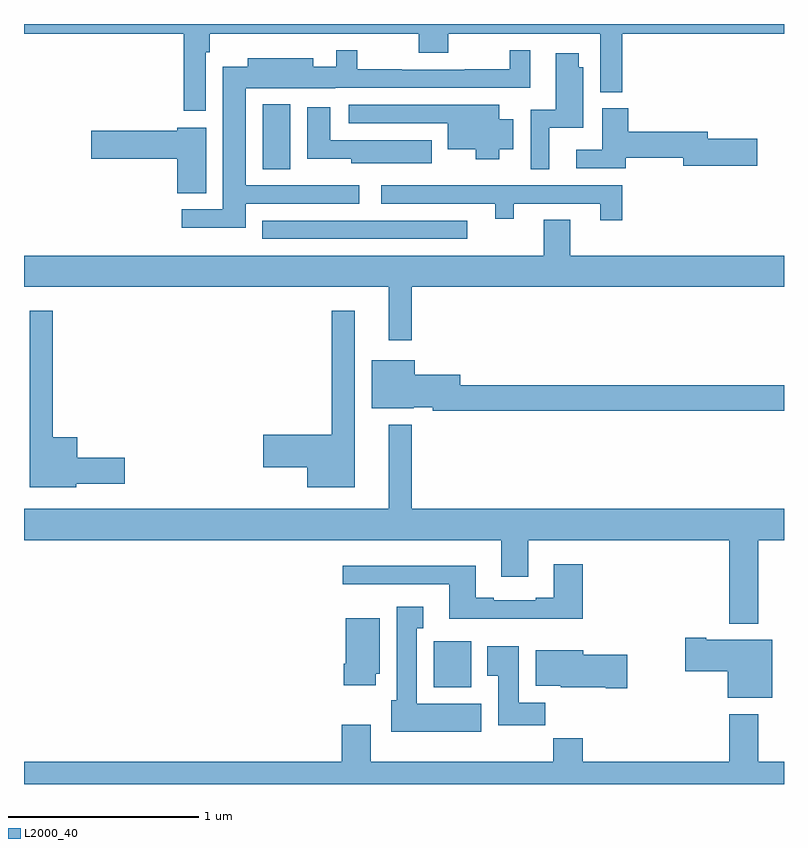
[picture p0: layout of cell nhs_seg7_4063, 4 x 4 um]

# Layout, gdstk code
import gdstk
lib = gdstk.Library(unit=1e-6, precision=1e-09)
def R(c, l, rs):  # rectangles x0, y0, x1, y1
    for r in rs: c.add(gdstk.rectangle(r[:2], r[2:], *l))
def P(c, l, *ps):  # polygons
    for p in ps: c.add(gdstk.Polygon(p, *l))
L2000_40 = (2000, 40)

nhs_seg7_4063 = lib.new_cell('nhs_seg7_4063')
R(nhs_seg7_4063, L2000_40, [(371.156,998.51,371.353,998.752), (370.253,1000.869,371.332,1000.965), (370.256,1001.236,370.402,1001.578)])
P(nhs_seg7_4063, L2000_40, [(369.957,1001.852),(369.977,1001.852),(369.977,1001.948),(371.077,1001.948),(371.077,1001.849),(371.232,1001.849),(371.232,1001.948),(372.033,1001.948),(372.033,1001.641),(372.149,1001.641),(372.149,1001.948),(373,1001.948),(373,1002),(369,1002),(369,1001.948),(369.841,1001.948),(369.841,1001.544),(369.957,1001.544)],
  [(370.168,1001.055),(370.765,1001.055),(370.765,1001.152),(370.498,1001.152),(370.498,1001.151),(370.168,1001.151),(370.168,1001.663),(370.637,1001.663),(370.637,1001.664),(371.665,1001.664),(371.665,1001.863),(371.556,1001.863),(371.556,1001.762),(371.32,1001.762),(371.32,1001.76),(370.988,1001.76),(370.988,1001.762),(370.753,1001.762),(370.753,1001.863),(370.644,1001.863),(370.644,1001.776),(370.522,1001.776),(370.522,1001.821),(370.178,1001.821),(370.178,1001.776),(370.046,1001.776),(370.046,1001.025),(369.831,1001.025),(369.831,1000.928),(370.168,1000.928)],
  [(371.764,1001.454),(371.944,1001.454),(371.944,1001.772),(371.92,1001.772),(371.92,1001.845),(371.798,1001.845),(371.798,1001.55),(371.667,1001.55),(371.667,1001.236),(371.764,1001.236)],
  [(371.5,1001.342),(371.575,1001.342),(371.575,1001.5),(371.5,1001.5),(371.5,1001.574),(370.71,1001.574),(370.71,1001.478),(371.231,1001.478),(371.231,1001.342),(371.378,1001.342),(371.378,1001.288),(371.5,1001.288)],
  [(371.146,1001.388),(370.939,1001.388),(370.939,1001.389),(370.612,1001.389),(370.612,1001.563),(370.49,1001.563),(370.49,1001.291),(370.722,1001.291),(370.722,1001.267),(371.146,1001.267)],
  [(372.166,1001.296),(372.47,1001.296),(372.47,1001.254),(372.859,1001.254),(372.859,1001.396),(372.598,1001.396),(372.598,1001.432),(372.179,1001.432),(372.179,1001.556),(372.044,1001.556),(372.044,1001.337),(371.907,1001.337),(371.907,1001.241),(372.166,1001.241)],
  [(369.958,1001.455),(369.806,1001.455),(369.806,1001.438),(369.354,1001.438),(369.354,1001.291),(369.806,1001.291),(369.806,1001.11),(369.958,1001.11)],
  [(372.149,1001.151),(371.484,1001.151),(371.484,1001.152),(371.194,1001.152),(371.194,1001.151),(370.881,1001.151),(370.881,1001.055),(371.48,1001.055),(371.48,1000.976),(371.578,1000.976),(371.578,1001.055),(372.032,1001.055),(372.032,1000.968),(372.149,1000.968)],
  [(371.041,1000.616),(373,1000.616),(373,1000.78),(371.875,1000.78),(371.875,1000.97),(371.735,1000.97),(371.735,1000.78),(369,1000.78),(369,1000.616),(370.919,1000.616),(370.919,1000.335),(371.041,1000.335)],
  [(370.741,1000.492),(370.62,1000.492),(370.62,999.839),(370.26,999.839),(370.26,999.668),(370.49,999.668),(370.49,999.563),(370.741,999.563)],
  [(369.276,999.581),(369.529,999.581),(369.529,999.716),(369.28,999.716),(369.28,999.826),(369.151,999.826),(369.151,1000.492),(369.029,1000.492),(369.029,999.563),(369.276,999.563)],
  [(373,1000.1),(371.296,1000.1),(371.296,1000.153),(371.056,1000.153),(371.056,1000.231),(370.829,1000.231),(370.829,999.977),(371.052,999.977),(371.052,999.983),(371.152,999.983),(371.152,999.964),(373,999.964)],
  [(372.865,999.284),(373,999.284),(373,999.448),(371.041,999.448),(371.041,999.892),(370.919,999.892),(370.919,999.448),(369,999.448),(369,999.284),(371.513,999.284),(371.513,999.09),(371.653,999.09),(371.653,999.284),(372.713,999.284),(372.713,998.843),(372.865,998.843)],
  [(371.942,999.157),(371.789,999.157),(371.789,998.98),(371.693,998.98),(371.693,998.967),(371.473,998.967),(371.473,998.98),(371.377,998.98),(371.377,999.148),(370.677,999.148),(370.677,999.051),(371.237,999.051),(371.237,998.87),(371.942,998.87)],
  [(371.407,998.422),(371.068,998.422),(371.068,998.819),(371.101,998.819),(371.101,998.932),(370.961,998.932),(370.961,998.442),(370.934,998.442),(370.934,998.276),(371.407,998.276)],
  [(370.852,998.58),(370.873,998.58),(370.873,998.872),(370.694,998.872),(370.694,998.632),(370.682,998.632),(370.682,998.52),(370.852,998.52)],
  [(372.937,998.758),(372.592,998.758),(372.592,998.771),(372.48,998.771),(372.48,998.593),(372.704,998.593),(372.704,998.453),(372.937,998.453)],
  [(371.744,998.428),(371.605,998.428),(371.605,998.725),(371.438,998.725),(371.438,998.569),(371.495,998.569),(371.495,998.31),(371.744,998.31)],
  [(372.175,998.681),(371.944,998.681),(371.944,998.704),(371.693,998.704),(371.693,998.516),(371.826,998.516),(371.826,998.51),(372.062,998.51),(372.062,998.503),(372.175,998.503)],
  [(373,998.116),(372.865,998.116),(372.865,998.368),(372.713,998.368),(372.713,998.116),(371.942,998.116),(371.942,998.24),(371.785,998.24),(371.785,998.116),(370.825,998.116),(370.825,998.311),(370.673,998.311),(370.673,998.116),(369,998.116),(369,998),(373,998)])

lib.write_gds('nhs_seg7_4063.gds')
